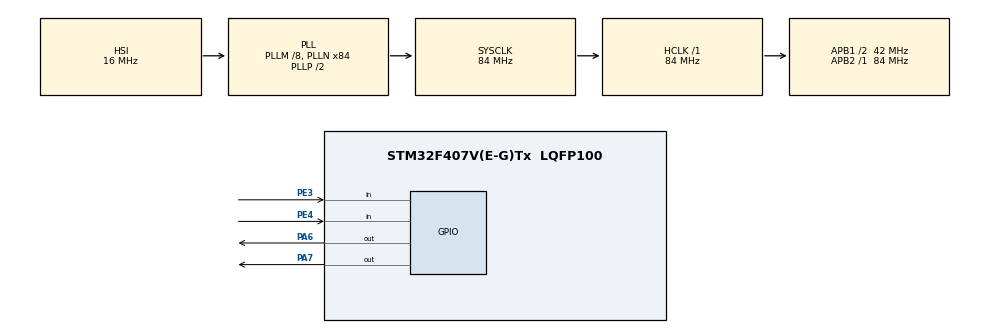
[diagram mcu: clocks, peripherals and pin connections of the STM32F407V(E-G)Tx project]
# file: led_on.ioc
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Mcu.Family=STM32F4
Mcu.Name=STM32F407V(E-G)Tx
Mcu.Package=LQFP100
NVIC.PriorityGroup=NVIC_PRIORITYGROUP_4
NVIC.TIM3_IRQn=true\:0\:0\:false\:false\:true\:true\:true\:true
NVIC.TIM4_IRQn=true\:0\:0\:false\:false\:true\:true\:true\:true
PA13.Mode=JTAG_4_pins
PA13.Signal=SYS_JTMS-SWDIO
PA14.Mode=JTAG_4_pins
PA14.Signal=SYS_JTCK-SWCLK
PA15.Mode=JTAG_4_pins
PA15.Signal=SYS_JTDI
PA6.PinState=GPIO_PIN_SET
PA6.Signal=GPIO_Output
PA7.PinState=GPIO_PIN_SET
PA7.Signal=GPIO_Output
PB3.Mode=JTAG_4_pins
PB3.Signal=SYS_JTDO-SWO
PC14-OSC32_IN.Mode=LSE-External-Oscillator
PC14-OSC32_IN.Signal=RCC_OSC32_IN
PC15-OSC32_OUT.Mode=LSE-External-Oscillator
PC15-OSC32_OUT.Signal=RCC_OSC32_OUT
PE3.GPIO_PuPd=GPIO_PULLUP
PE3.Signal=GPIO_Input
PE4.GPIO_PuPd=GPIO_PULLUP
PE4.Signal=GPIO_Input
PH0-OSC_IN.Mode=HSE-External-Oscillator
PH0-OSC_IN.Signal=RCC_OSC_IN
PH1-OSC_OUT.Mode=HSE-External-Oscillator
PH1-OSC_OUT.Signal=RCC_OSC_OUT
ProjectManager.HeapSize=0x200
ProjectManager.StackSize=0x400
ProjectManager.TargetToolchain=STM32CubeIDE
RCC.48MHZClocksFreq_Value=42000000
RCC.AHBFreq_Value=84000000
RCC.APB1CLKDivider=RCC_HCLK_DIV2
RCC.APB1Freq_Value=42000000
RCC.APB1TimFreq_Value=84000000
RCC.APB2Freq_Value=84000000
RCC.APB2TimFreq_Value=84000000
RCC.CortexFreq_Value=84000000
RCC.HCLKFreq_Value=84000000
RCC.HSE_VALUE=25000000
RCC.HSI_VALUE=16000000
RCC.PLLM=8
RCC.PLLN=84
RCC.SYSCLKFreq_VALUE=84000000
RCC.SYSCLKSource=RCC_SYSCLKSOURCE_PLLCLK
RCC.VCOOutputFreq_Value=168000000
TIM3.Period=256
TIM3.Prescaler=40
TIM4.Channel-Output\ Compare1\ No\ Output=TIM_CHANNEL_1
TIM4.Channel-Output\ Compare2\ No\ Output=TIM_CHANNEL_2
TIM4.Channel-Output\ Compare3\ No\ Output=TIM_CHANNEL_3
TIM4.Channel-Output\ Compare4\ No\ Output=TIM_CHANNEL_4
VP_TIM3_VS_ClockSourceINT.Mode=Internal
VP_TIM4_VS_no_output1.Mode=Output Compare1 No Output
VP_TIM4_VS_no_output2.Mode=Output Compare2 No Output
VP_TIM4_VS_no_output3.Mode=Output Compare3 No Output
VP_TIM4_VS_no_output4.Mode=Output Compare4 No Output
board=custom

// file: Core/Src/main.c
/* USER CODE BEGIN Header */
/**
  ******************************************************************************
  * @file           : main.c
  * @brief          : Main program body
  ******************************************************************************
  * @attention
  *
  * Copyright (c) 2022 STMicroelectronics.
  * All rights reserved.
  *
  * This software is licensed under terms that can be found in the LICENSE file
  * in the root directory of this software component.
  * If no LICENSE file comes with this software, it is provided AS-IS.
  *
  ******************************************************************************
  */
/* USER CODE END Header */
#include "main.h"

/* USER CODE BEGIN Includes */
#include "stdio.h"

/* USER CODE END Includes */

TIM_HandleTypeDef htim3;
TIM_HandleTypeDef htim4;

/* USER CODE BEGIN PV */

uint16_t time_set[3] = {1000, 500, 300};
uint16_t led_pin[2] = {GPIO_PIN_6, GPIO_PIN_7};
uint16_t pin_mode[2] = {GPIO_PIN_RESET, GPIO_PIN_SET};

uint16_t time_set_cur_idx = 0;
uint16_t led_pin_cur_idx = 0;
uint16_t pin_mode_cur_idx_1 = 0;
uint16_t pin_mode_cur_idx_2 = 0;
uint16_t set_mode = 0;

uint16_t interval = 1000;
unsigned long time_mod2 = 0;
unsigned long time_mod1_1 = 0;
unsigned long time_mod1_2 = 0;

/* USER CODE END PV */

void SystemClock_Config(void);
static void MX_GPIO_Init(void);
static void MX_TIM4_Init(void);
static void MX_TIM3_Init(void);

/* USER CODE BEGIN 0 */

void ChangeSettings(){
	time_set_cur_idx++;
	if(time_set_cur_idx == 3){
		time_set_cur_idx = 0;
	}
	interval = time_set[time_set_cur_idx];
}

void Mode1(){
	if(HAL_GetTick() - time_mod1_1 >= interval){
//		  HAL_GPIO_WritePin(GPIOA, GPIO_PIN_6, pin_mode[pin_mode_cur_idx_1]);
		HAL_GPIO_WritePin(GPIOA, GPIO_PIN_6, RESET);
		HAL_Delay(100);
		HAL_GPIO_WritePin(GPIOA, GPIO_PIN_6, SET);

		pin_mode_cur_idx_1 = !pin_mode_cur_idx_1;

		time_mod1_1 = HAL_GetTick();
	 }

	  if(HAL_GetTick() - time_mod1_2 >= interval*2){
//		  HAL_GPIO_WritePin(GPIOA, GPIO_PIN_7, pin_mode[pin_mode_cur_idx_2]);
		  HAL_GPIO_WritePin(GPIOA, GPIO_PIN_7, RESET);
		  HAL_Delay(100);
		  HAL_GPIO_WritePin(GPIOA, GPIO_PIN_7, SET);

		  pin_mode_cur_idx_2 = !pin_mode_cur_idx_2;

		  time_mod1_2 = HAL_GetTick();
	 }
}

void Mode2(){
	if(HAL_GPIO_ReadPin(GPIOE, GPIO_PIN_4)==0){
			  ChangeSettings();
	}

	if(HAL_GetTick() - time_mod2 >= interval){
		  HAL_GPIO_WritePin(GPIOA, led_pin[led_pin_cur_idx], GPIO_PIN_RESET);

		  led_pin_cur_idx = !led_pin_cur_idx;

		  HAL_GPIO_WritePin(GPIOA, led_pin[led_pin_cur_idx], GPIO_PIN_SET);

		  time_mod2 = HAL_GetTick();
	}
}

/* USER CODE END 0 */

int main(void)
{

  /* MCU Configuration--------------------------------------------------------*/

  /* Reset of all peripherals, Initializes the Flash interface and the Systick. */
  HAL_Init();

  /* Configure the system clock */
  SystemClock_Config();

  /* Initialize all configured peripherals */
  MX_GPIO_Init();
  MX_TIM4_Init();
  MX_TIM3_Init();
  /* USER CODE BEGIN 2 */

  //Подключение Ш�?М
  HAL_TIM_Base_Start_IT(&htim3);
  HAL_TIM_PWM_Start(&htim3, TIM_CHANNEL_2);

  /* USER CODE END 2 */

  /* Infinite loop */
  /* USER CODE BEGIN WHILE */
  while (1)
  {
	  if(HAL_GPIO_ReadPin(GPIOE, GPIO_PIN_3)==0){
		  set_mode = !set_mode;
	  }

	  if(set_mode){
		  Mode1();
	  }
	  else{
		  Mode2();
	  }

//	  for(int i = 0; i < 256; i++) {
//		  __HAL_TIM_SetCompare(&htim3, TIM_CHANNEL_2, i);
//		  HAL_Delay(1);
//	  }
//
//	  for(int i = 255; i >= 0; i--) {
//		  __HAL_TIM_SetCompare(&htim3, TIM_CHANNEL_2, i);
//		  HAL_Delay(1);
//	  }

    /* USER CODE END WHILE */

  }
}

void SystemClock_Config(void)
{
  RCC_OscInitTypeDef RCC_OscInitStruct = {0};
  RCC_ClkInitTypeDef RCC_ClkInitStruct = {0};

  /** Configure the main internal regulator output voltage
  */
  __HAL_RCC_PWR_CLK_ENABLE();
  __HAL_PWR_VOLTAGESCALING_CONFIG(PWR_REGULATOR_VOLTAGE_SCALE1);

  /** Initializes the RCC Oscillators according to the specified parameters
  * in the RCC_OscInitTypeDef structure.
  */
  RCC_OscInitStruct.OscillatorType = RCC_OSCILLATORTYPE_HSI;
  RCC_OscInitStruct.HSIState = RCC_HSI_ON;
  RCC_OscInitStruct.HSICalibrationValue = RCC_HSICALIBRATION_DEFAULT;
  RCC_OscInitStruct.PLL.PLLState = RCC_PLL_ON;
  RCC_OscInitStruct.PLL.PLLSource = RCC_PLLSOURCE_HSI;
  RCC_OscInitStruct.PLL.PLLM = 8;
  RCC_OscInitStruct.PLL.PLLN = 84;
  RCC_OscInitStruct.PLL.PLLP = RCC_PLLP_DIV2;
  RCC_OscInitStruct.PLL.PLLQ = 4;
  if (HAL_RCC_OscConfig(&RCC_OscInitStruct) != HAL_OK)
  {
    Error_Handler();
  }

  /** Initializes the CPU, AHB and APB buses clocks
  */
  RCC_ClkInitStruct.ClockType = RCC_CLOCKTYPE_HCLK|RCC_CLOCKTYPE_SYSCLK
                              |RCC_CLOCKTYPE_PCLK1|RCC_CLOCKTYPE_PCLK2;
  RCC_ClkInitStruct.SYSCLKSource = RCC_SYSCLKSOURCE_PLLCLK;
  RCC_ClkInitStruct.AHBCLKDivider = RCC_SYSCLK_DIV1;
  RCC_ClkInitStruct.APB1CLKDivider = RCC_HCLK_DIV2;
  RCC_ClkInitStruct.APB2CLKDivider = RCC_HCLK_DIV1;

  if (HAL_RCC_ClockConfig(&RCC_ClkInitStruct, FLASH_LATENCY_2) != HAL_OK)
  {
    Error_Handler();
  }
}

static void MX_TIM3_Init(void)
{

  TIM_ClockConfigTypeDef sClockSourceConfig = {0};
  TIM_MasterConfigTypeDef sMasterConfig = {0};

  htim3.Instance = TIM3;
  htim3.Init.Prescaler = 40;
  htim3.Init.CounterMode = TIM_COUNTERMODE_UP;
  htim3.Init.Period = 256;
  htim3.Init.ClockDivision = TIM_CLOCKDIVISION_DIV1;
  htim3.Init.AutoReloadPreload = TIM_AUTORELOAD_PRELOAD_DISABLE;
  if (HAL_TIM_Base_Init(&htim3) != HAL_OK)
  {
    Error_Handler();
  }
  sClockSourceConfig.ClockSource = TIM_CLOCKSOURCE_INTERNAL;
  if (HAL_TIM_ConfigClockSource(&htim3, &sClockSourceConfig) != HAL_OK)
  {
    Error_Handler();
  }
  sMasterConfig.MasterOutputTrigger = TIM_TRGO_RESET;
  sMasterConfig.MasterSlaveMode = TIM_MASTERSLAVEMODE_DISABLE;
  if (HAL_TIMEx_MasterConfigSynchronization(&htim3, &sMasterConfig) != HAL_OK)
  {
    Error_Handler();
  }

}

static void MX_TIM4_Init(void)
{

  TIM_MasterConfigTypeDef sMasterConfig = {0};
  TIM_OC_InitTypeDef sConfigOC = {0};

  htim4.Instance = TIM4;
  htim4.Init.Prescaler = 0;
  htim4.Init.CounterMode = TIM_COUNTERMODE_UP;
  htim4.Init.Period = 65535;
  htim4.Init.ClockDivision = TIM_CLOCKDIVISION_DIV1;
  htim4.Init.AutoReloadPreload = TIM_AUTORELOAD_PRELOAD_DISABLE;
  if (HAL_TIM_OC_Init(&htim4) != HAL_OK)
  {
    Error_Handler();
  }
  sMasterConfig.MasterOutputTrigger = TIM_TRGO_RESET;
  sMasterConfig.MasterSlaveMode = TIM_MASTERSLAVEMODE_DISABLE;
  if (HAL_TIMEx_MasterConfigSynchronization(&htim4, &sMasterConfig) != HAL_OK)
  {
    Error_Handler();
  }
  sConfigOC.OCMode = TIM_OCMODE_TIMING;
  sConfigOC.Pulse = 0;
  sConfigOC.OCPolarity = TIM_OCPOLARITY_HIGH;
  sConfigOC.OCFastMode = TIM_OCFAST_DISABLE;
  if (HAL_TIM_OC_ConfigChannel(&htim4, &sConfigOC, TIM_CHANNEL_1) != HAL_OK)
  {
    Error_Handler();
  }
  if (HAL_TIM_OC_ConfigChannel(&htim4, &sConfigOC, TIM_CHANNEL_2) != HAL_OK)
  {
    Error_Handler();
  }
  if (HAL_TIM_OC_ConfigChannel(&htim4, &sConfigOC, TIM_CHANNEL_3) != HAL_OK)
  {
    Error_Handler();
  }
  if (HAL_TIM_OC_ConfigChannel(&htim4, &sConfigOC, TIM_CHANNEL_4) != HAL_OK)
  {
    Error_Handler();
  }

}

static void MX_GPIO_Init(void)
{
  GPIO_InitTypeDef GPIO_InitStruct = {0};

  /* GPIO Ports Clock Enable */
  __HAL_RCC_GPIOE_CLK_ENABLE();
  __HAL_RCC_GPIOC_CLK_ENABLE();
  __HAL_RCC_GPIOH_CLK_ENABLE();
  __HAL_RCC_GPIOA_CLK_ENABLE();
  __HAL_RCC_GPIOB_CLK_ENABLE();

  /*Configure GPIO pin Output Level */
  HAL_GPIO_WritePin(GPIOA, GPIO_PIN_6|GPIO_PIN_7, GPIO_PIN_SET);

  /*Configure GPIO pins : PE3 PE4 */
  GPIO_InitStruct.Pin = GPIO_PIN_3|GPIO_PIN_4;
  GPIO_InitStruct.Mode = GPIO_MODE_INPUT;
  GPIO_InitStruct.Pull = GPIO_PULLUP;
  HAL_GPIO_Init(GPIOE, &GPIO_InitStruct);

  /*Configure GPIO pins : PA6 PA7 */
  GPIO_InitStruct.Pin = GPIO_PIN_6|GPIO_PIN_7;
  GPIO_InitStruct.Mode = GPIO_MODE_OUTPUT_PP;
  GPIO_InitStruct.Pull = GPIO_NOPULL;
  GPIO_InitStruct.Speed = GPIO_SPEED_FREQ_LOW;
  HAL_GPIO_Init(GPIOA, &GPIO_InitStruct);

}

void Error_Handler(void)
{
  __disable_irq();
  while (1)
  {
  }
}
